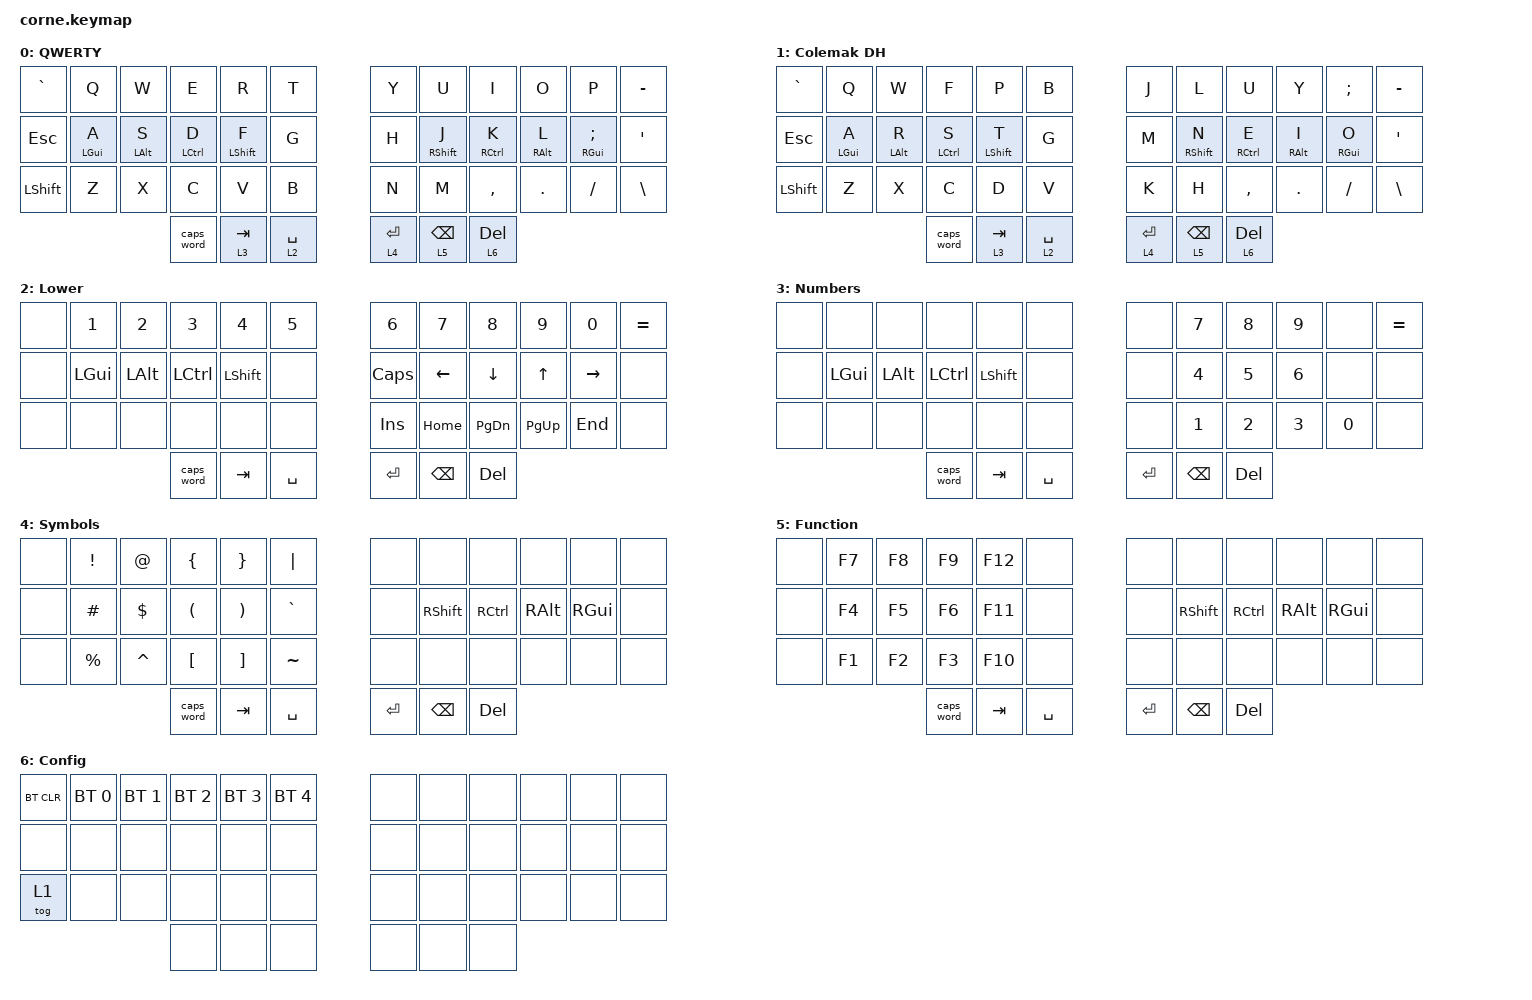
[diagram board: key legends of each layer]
/*
 * Copyright (c) 2020 The ZMK Contributors
 *
 * SPDX-License-Identifier: MIT
 */

#include <behaviors.dtsi>
#include <dt-bindings/zmk/bt.h>
#include <dt-bindings/zmk/keys.h>

/ {
    combos { compatible = "zmk,combos"; };

    behaviors {
        hml: homerow_mods_left {
            compatible = "zmk,behavior-hold-tap";
            label = "HOMEROW_MODS_LEFT";
            bindings = <&kp>, <&kp>;

            #binding-cells = <2>;
            tapping-term-ms = <280>;
            quick-tap-ms = <175>;
            require-prior-idle-ms = <150>;
            flavor = "balanced";
            hold-trigger-on-release;
            hold-trigger-key-positions = <6 7 8 9 10 11 18 19 20 21 22 23 30 31 32 33 34 35 39 40 41 36 37 38>;
        };

        hmr: homerow_mods_right {
            compatible = "zmk,behavior-hold-tap";
            label = "HOMEROW_MODS_RIGHT";
            bindings = <&kp>, <&kp>;

            #binding-cells = <2>;
            tapping-term-ms = <280>;
            quick-tap-ms = <175>;
            require-prior-idle-ms = <150>;
            flavor = "balanced";
            hold-trigger-on-release;
            hold-trigger-key-positions = <0 1 2 3 4 5 12 13 14 15 16 17 24 25 26 27 28 29 36 37 38 39 40 41>;
        };
    };

    keymap {
        compatible = "zmk,keymap";

        qwerty_layer {
            // -----------------------------------------------------------------------------------------
            // |  TAB |  Q  |  W  |  E  |  R  |  T  |   |  Y  |  U   |  I  |  O  |  P  | BKSP |
            // | CTRL |  A  |  S  |  D  |  F  |  G  |   |  H  |  J   |  K  |  L  |  ;  |  '   |
            // | SHFT |  Z  |  X  |  C  |  V  |  B  |   |  N  |  M   |  ,  |  .  |  /  | ESC  |
            //                    | GUI | LWR | SPC |   | ENT | RSE  | ALT |

            display-name = "QWERTY";
            bindings = <
&kp GRAVE  &kp Q        &kp W        &kp E         &kp R          &kp T          &kp Y         &kp U            &kp I         &kp O        &kp P           &kp MINUS
&kp ESC    &hml LGUI A  &hml LALT S  &hml LCTRL D  &hml LSHIFT F  &kp G          &kp H         &hmr RSHIFT J    &hmr RCTRL K  &hmr RALT L  &hmr RGUI SEMI  &kp SQT
&kp LSHFT  &kp Z        &kp X        &kp C         &kp V          &kp B          &kp N         &kp M            &kp COMMA     &kp DOT      &kp FSLH        &kp BACKSLASH
                                     &caps_word    &lt 3 TAB      &lt 2 SPACE    &lt 4 RETURN  &lt 5 BACKSPACE  &lt 6 DEL
            >;
        };

        colemak_dh_layer {
            bindings = <
&kp GRAVE  &kp Q        &kp W        &kp F         &kp P          &kp B          &kp J         &kp L            &kp U         &kp Y        &kp SEMI     &kp MINUS
&kp ESC    &hml LGUI A  &hml LALT R  &hml LCTRL S  &hml LSHIFT T  &kp G          &kp M         &hmr RSHIFT N    &hmr RCTRL E  &hmr RALT I  &hmr RGUI O  &kp APOS
&kp LSHFT  &kp Z        &kp X        &kp C         &kp D          &kp V          &kp K         &kp H            &kp COMMA     &kp DOT      &kp FSLH     &kp BSLH
                                     &caps_word    &lt 3 TAB      &lt 2 SPACE    &lt 4 RETURN  &lt 5 BACKSPACE  &lt 6 DELETE
            >;

            label = "Colemak DH";
        };

        navigation_layer {
            // -----------------------------------------------------------------------------------------
            // |  TAB |  1  |  2  |  3  |  4  |  5  |   |  6  |  7  |  8  |  9  |  0  | BKSP |
            // | BTCLR| BT1 | BT2 | BT3 | BT4 | BT5 |   | LFT | DWN |  UP | RGT |     |      |
            // | SHFT |     |     |     |     |     |   |     |     |     |     |     |      |
            //                    | GUI |     | SPC |   | ENT |     | ALT |

            display-name = "Lower";
            bindings = <
&none  &kp N1    &kp N2    &kp N3      &kp N4     &kp N5       &kp N6      &kp N7         &kp N8         &kp N9     &kp N0     &kp EQUAL
&none  &kp LGUI  &kp LALT  &kp LCTRL   &kp LSHFT  &none        &kp CAPS    &kp LEFT       &kp DOWN       &kp UP     &kp RIGHT  &none
&none  &none     &none     &none       &none      &none        &kp INSERT  &kp HOME       &kp PAGE_DOWN  &kp PG_UP  &kp END    &none
                           &caps_word  &kp TAB    &kp SPACE    &kp RET     &kp BACKSPACE  &kp DEL
            >;

            label = "Navigation";
        };

        number_layer {
            bindings = <
&none  &none     &none     &none       &none      &none        &none    &kp N7         &kp N8   &kp N9  &none   &kp EQUAL
&none  &kp LGUI  &kp LALT  &kp LCTRL   &kp LSHFT  &none        &none    &kp N4         &kp N5   &kp N6  &none   &none
&none  &none     &none     &none       &none      &none        &none    &kp N1         &kp N2   &kp N3  &kp N0  &none
                           &caps_word  &kp TAB    &kp SPACE    &kp RET  &kp BACKSPACE  &kp DEL
            >;

            label = "Numbers";
        };

        symbol_layer {
            bindings = <
&none  &kp EXCL     &kp AT      &kp LEFT_BRACE        &kp RIGHT_BRACE        &kp PIPE     &none      &none      &none      &none     &none          &none
&none  &kp HASH     &kp DOLLAR  &kp LEFT_PARENTHESIS  &kp RIGHT_PARENTHESIS  &kp GRAVE    &none      &kp RSHFT  &kp RCTRL  &kp RALT  &kp RIGHT_GUI  &none
&none  &kp PERCENT  &kp CARET   &kp LEFT_BRACKET      &kp RIGHT_BRACKET      &kp TILDE    &none      &none      &none      &none     &none          &none
                                &caps_word            &kp TAB                &kp SPACE    &kp ENTER  &kp BSPC   &kp DEL
            >;

            label = "Symbols";
        };

        function_layer {
            bindings = <
&none  &kp F7  &kp F8  &kp F9      &kp F12  &none        &none      &none      &none      &none     &none     &none
&none  &kp F4  &kp F5  &kp F6      &kp F11  &none        &none      &kp RSHFT  &kp RCTRL  &kp RALT  &kp RGUI  &none
&none  &kp F1  &kp F2  &kp F3      &kp F10  &none        &none      &none      &none      &none     &none     &none
                       &caps_word  &kp TAB  &kp SPACE    &kp ENTER  &kp BSPC   &kp DEL
            >;

            label = "Function";
        };

        config_layer {
            bindings = <
&bt BT_CLR  &bt BT_SEL 0  &bt BT_SEL 1  &bt BT_SEL 2  &bt BT_SEL 3  &bt BT_SEL 4    &none  &none  &none  &none  &none  &none
&none       &none         &none         &none         &none         &none           &none  &none  &none  &none  &none  &none
&tog 1      &none         &none         &none         &none         &none           &none  &none  &none  &none  &none  &none
                                        &none         &none         &none           &none  &none  &none
            >;

            display-name = "Config";
        };
    };
};
